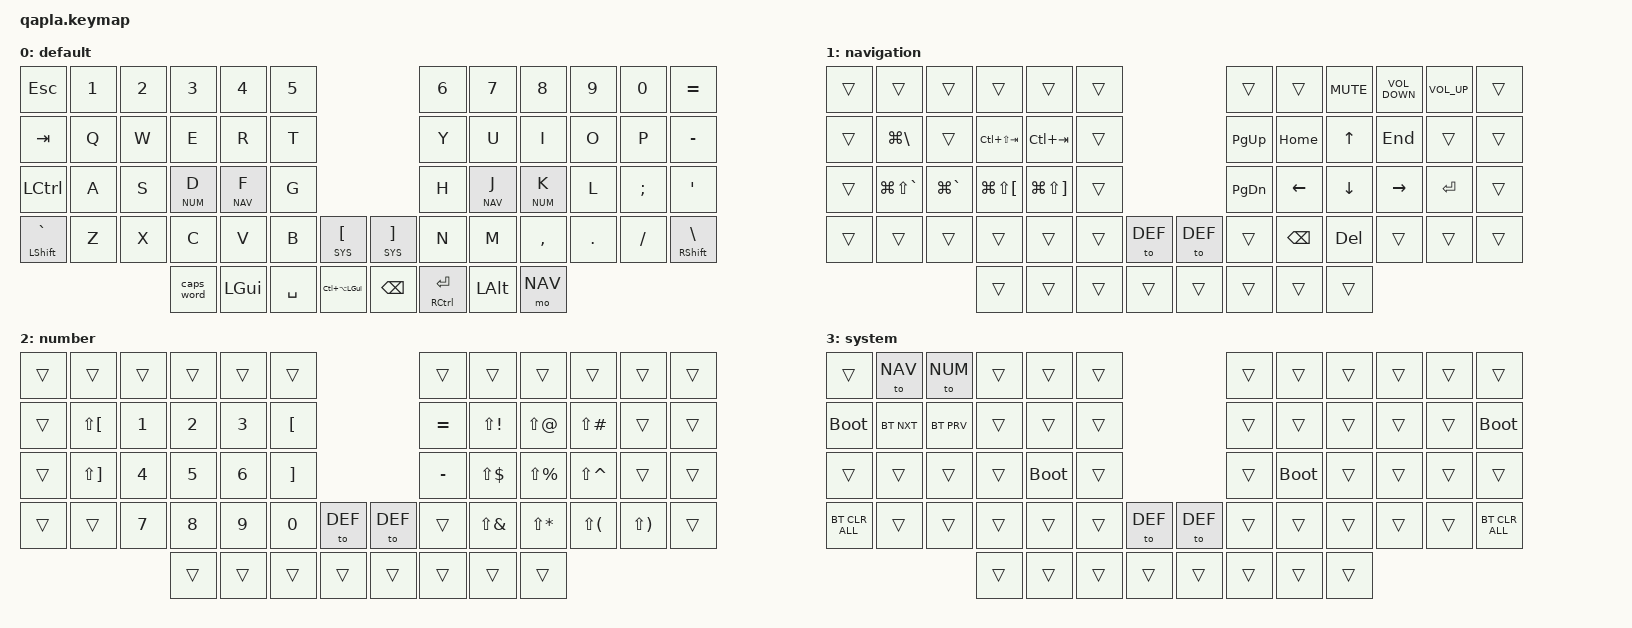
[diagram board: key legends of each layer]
#include "key_labels.h"
#include <behaviors.dtsi>
#include <dt-bindings/zmk/bt.h>
#include <dt-bindings/zmk/keys.h>

#define KEYS_L LT0 LT1 LT2 LT3 LT4 LT5 LH0 LH1 LH2 LH3 LH4 LH5 LB0 LB1 LB2 LB3 LB4 LB5
#define KEYS_R RT0 RT1 RT2 RT3 RT4 RT5 RH0 RH1 RH2 RH3 RH4 RH5 RB0 RB1 RB2 RB3 RB4 RB5

// Layers

#define DEF 0
#define NAV 1
#define NUM 2
#define SYS 3

/ {
    behaviors {
        hllt: home_row_left_layer_tap {
            compatible = "zmk,behavior-hold-tap";
            #binding-cells = <2>;
            flavor = "balanced";
            tapping-term-ms = <280>;
            quick-tap-ms = <175>;                // repeat on tap-into-hold
            require-prior-idle-ms = <150>;
            bindings = <&mo>, <&kp>;

            hold-trigger-key-positions = <KEYS_R>;
            hold-trigger-on-release;
        };

        hrlt: home_row_right_layer_tap {
            compatible = "zmk,behavior-hold-tap";
            #binding-cells = <2>;
            flavor = "balanced";
            tapping-term-ms = <280>;
            quick-tap-ms = <175>;                // repeat on tap-into-hold
            require-prior-idle-ms = <150>;
            bindings = <&mo>, <&kp>;

            hold-trigger-key-positions = <KEYS_L>;
            hold-trigger-on-release;
        };
    };
};

/ {
    keymap {
        compatible = "zmk,keymap";

        default_layer {
            display-name = "default";
            bindings = <
&kp ESC           &kp N1  &kp N2  &kp N3       &kp N4       &kp N5                                                    &kp N6         &kp N7        &kp N8       &kp N9   &kp N0    &kp EQUAL
&kp TAB           &kp Q   &kp W   &kp E        &kp R        &kp T                                                     &kp Y          &kp U         &kp I        &kp O    &kp P     &kp MINUS
&kp LCTRL         &kp A   &kp S   &hllt NUM D  &hllt NAV F  &kp G                                                     &kp H          &hrlt NAV J   &hrlt NUM K  &kp L    &kp SEMI  &kp SQT
&mt LSHIFT GRAVE  &kp Z   &kp X   &kp C        &kp V        &kp B      &lt SYS LEFT_BRACKET    &lt SYS RIGHT_BRACKET  &kp N          &kp M         &kp COMMA    &kp DOT  &kp FSLH  &mt RSHIFT BACKSLASH
                                  &caps_word   &kp LGUI     &kp SPACE  &kp LC(LA(LGUI))        &kp BACKSPACE          &mt RCTRL RET  &kp LEFT_ALT  &mo NAV
            >;
        };

        nav {
            display-name = "navigation";
            bindings = <
&trans  &trans             &trans         &trans            &trans            &trans                      &trans         &trans         &kp C_MUTE  &kp C_VOLUME_DOWN  &kp C_VOLUME_UP  &trans
&trans  &kp LG(BACKSLASH)  &trans         &kp LC(LS(TAB))   &kp LC(TAB)       &trans                      &kp PAGE_UP    &kp HOME       &kp UP      &kp END            &trans           &trans
&trans  &kp LG(LS(GRAVE))  &kp LG(GRAVE)  &kp LG(LS(LBKT))  &kp LG(LS(RBKT))  &trans                      &kp PAGE_DOWN  &kp LEFT       &kp DOWN    &kp RIGHT          &kp RETURN       &trans
&trans  &trans             &trans         &trans            &trans            &trans  &to DEF    &to DEF  &trans         &kp BACKSPACE  &kp DELETE  &trans             &trans           &trans
                                          &trans            &trans            &trans  &trans     &trans   &trans         &trans         &trans
            >;
        };

        number {
            display-name = "number";
            bindings = <
&trans  &trans        &trans  &trans  &trans  &trans                        &trans     &trans        &trans         &trans         &trans        &trans
&trans  &kp LS(LBKT)  &kp N1  &kp N2  &kp N3  &kp LBKT                      &kp EQUAL  &kp LS(EXCL)  &kp LS(AT)     &kp LS(POUND)  &trans        &trans
&trans  &kp LS(RBKT)  &kp N4  &kp N5  &kp N6  &kp RBKT                      &kp MINUS  &kp LS(DLLR)  &kp LS(PRCNT)  &kp LS(CARET)  &trans        &trans
&trans  &trans        &kp N7  &kp N8  &kp N9  &kp N0    &to DEF    &to DEF  &trans     &kp LS(AMPS)  &kp LS(STAR)   &kp LS(LPAR)   &kp LS(RPAR)  &trans
                              &trans  &trans  &trans    &trans     &trans   &trans     &trans        &trans
            >;
        };

        system {
            display-name = "system";
            bindings = <
&trans          &to NAV     &to NUM     &trans  &trans       &trans                      &trans  &trans       &trans  &trans  &trans  &trans
&bootloader     &bt BT_NXT  &bt BT_PRV  &trans  &trans       &trans                      &trans  &trans       &trans  &trans  &trans  &bootloader
&trans          &trans      &trans      &trans  &bootloader  &trans                      &trans  &bootloader  &trans  &trans  &trans  &trans
&bt BT_CLR_ALL  &trans      &trans      &trans  &trans       &trans  &to DEF    &to DEF  &trans  &trans       &trans  &trans  &trans  &bt BT_CLR_ALL
                                        &trans  &trans       &trans  &trans     &trans   &trans  &trans       &trans
            >;
        };
    };
};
